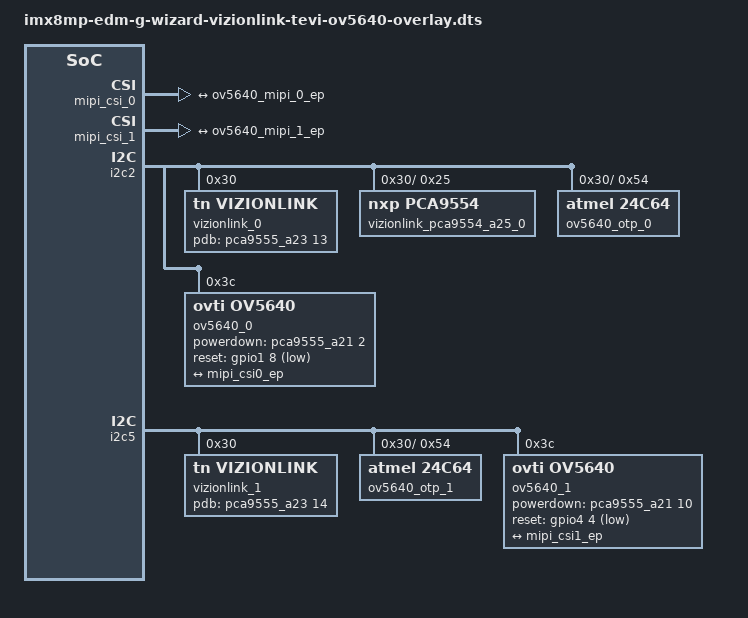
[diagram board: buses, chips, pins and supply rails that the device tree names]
// SPDX-License-Identifier: (GPL-2.0+ OR MIT)
/*
 * Copyright 2021 TechNexion Ltd.
 *
 */

/dts-v1/;
/plugin/;

#include <dt-bindings/interrupt-controller/irq.h>
#include <dt-bindings/clock/imx8mp-clock.h>
#include <dt-bindings/gpio/gpio.h>

/ {
	fragment@0 {
		target = <&mipi_csi_0>;
		__overlay__ {
			#address-cells = <1>;
			#size-cells = <0>;
			clock-frequency = <400000000>;
			status = "okay";

			port@0 {
				reg = <0>;
				mipi_csi0_ep: endpoint {
					remote-endpoint = <&ov5640_mipi_0_ep>;
					data-lanes = <4>;
					csis-hs-settle = <19>;
					csis-clk-settle = <2>;
					csis-wclk;
				};
			};
		};
	};

	fragment@1 {
		target = <&mipi_csi_1>;
		__overlay__ {
			#address-cells = <1>;
			#size-cells = <0>;
			clock-frequency = <400000000>;
			status = "okay";

			port@1 {
				reg = <1>;
				mipi_csi1_ep: endpoint {
					remote-endpoint = <&ov5640_mipi_1_ep>;
					data-lanes = <4>;
					csis-hs-settle = <19>;
					csis-clk-settle = <2>;
					csis-wclk;
				};
			};
		};
	};

	fragment@2 {
		target = <&i2c2>;
		__overlay__ {
			#address-cells = <1>;
			#size-cells = <0>;

			vizionlink_0: vizionlink@30 {
				compatible = "tn,vizionlink";
				reg = <0x30>;
				pdb-gpios = <&pca9555_a23 13 GPIO_ACTIVE_HIGH>;
				ser_alias_id = <0x1b>;

				//i2c addr alias map "gpio extender, eeprom , sensor"
				i2c_addr_alias_map_local = <0x25 0x54 0x3c>;
				i2c_addr_alias_map_remote = <0x25 0x54 0x3c>;

				//deserializer output csi lanes 1~4. default 4
				des_csi_lanes = <4>;

				//1: Enable 0: Disable continuous clock. default 0
				des_csi_continuous_clock = <0>;

				//serializer input csi lanes 1~4. default 4
				ser_csi_lanes = <2>;

				//1: Enable 0: Disable continuous clock. default 0
				ser_csi_continuous_clock = <0>;

				status = "okay";

				i2c_dev_list {
					#address-cells = <1>;
					#size-cells = <0>;

					vizionlink_pca9554_a25_0: vizionlink_pca9554@25 {
						compatible = "nxp,pca9554";
						reg = <0x25>;
						gpio-controller;
						#gpio-cells = <2>;
						status = "okay";
					};

					ov5640_otp_0: eeprom@54 {
						compatible = "atmel,24c64";
						pagesize = <128>;
						reg = <0x54>;
					};
				};
			};

			ov5640_0: ov5640_mipi@3c {
				compatible = "ovti,ov5640";
				reg = <0x3c>;
				pinctrl-names = "default";
				pinctrl-0 = <&pinctrl_csi0_pwn>, <&pinctrl_csi0_rst>;
				clocks = <&clk IMX8MP_CLK_IPP_DO_CLKO1>;
				clock-names = "xclk";
				assigned-clocks = <&clk IMX8MP_CLK_IPP_DO_CLKO1>;
				assigned-clock-parents = <&clk IMX8MP_CLK_24M>;
				assigned-clock-rates = <24000000>;
				csi_id = <0>;
				powerdown-gpios = <&pca9555_a21 2 GPIO_ACTIVE_HIGH>;
				reset-gpios = <&gpio1 8 GPIO_ACTIVE_LOW>;
				mclk = <24000000>;
				mclk_source = <0>;
				mipi_csi;
				nvmem = <&ov5640_otp_0>;
				nvmem-names = "calib-data";
				status = "okay";

				port {
					ov5640_mipi_0_ep: endpoint {
						remote-endpoint = <&mipi_csi0_ep>;
						data-lanes = <1 2>;
						clock-lanes = <0>;
					};
				};
			};
		};
	};

	fragment@3 {
		target = <&i2c5>;
		__overlay__ {
			#address-cells = <1>;
			#size-cells = <0>;

			vizionlink_1: vizionlink@30 {
				compatible = "tn,vizionlink";
				reg = <0x30>;
				pdb-gpios = <&pca9555_a23 14 GPIO_ACTIVE_HIGH>;
				ser_alias_id = <0x1b>;

				//i2c addr alias map "gpio extender, eeprom , sensor"
				i2c_addr_alias_map_local = <0x25 0x54 0x3c>;
				i2c_addr_alias_map_remote = <0x25 0x54 0x3c>;

				//deserializer output csi lanes 1~4. default 4
				des_csi_lanes = <4>;

				//1: Enable 0: Disable continuous clock. default 0
				des_csi_continuous_clock = <0>;

				//serializer input csi lanes 1~4. default 4
				ser_csi_lanes = <2>;

				//1: Enable 0: Disable continuous clock. default 0
				ser_csi_continuous_clock = <0>;

				status = "okay";

				i2c_dev_list {
					#address-cells = <1>;
					#size-cells = <0>;

					vizionlink_pca9554_a25_1: vizionlink_pca9554@25 {
						compatible = "nxp,pca9554";
						reg = <0x25>;
						gpio-controller;
						#gpio-cells = <2>;
						status = "disabled";
					};

					ov5640_otp_1: eeprom@54 {
						compatible = "atmel,24c64";
						pagesize = <128>;
						reg = <0x54>;
					};
				};
			};

			ov5640_1: ov5640_mipi@3c {
				compatible = "ovti,ov5640";
				reg = <0x3c>;
				pinctrl-names = "default";
				pinctrl-0 = <&pinctrl_csi1_pwn>, <&pinctrl_csi1_rst>;
				clocks = <&clk IMX8MP_CLK_IPP_DO_CLKO2>;
				clock-names = "xclk";
				assigned-clocks = <&clk IMX8MP_CLK_IPP_DO_CLKO2>;
				assigned-clock-parents = <&clk IMX8MP_CLK_24M>;
				assigned-clock-rates = <24000000>;
				csi_id = <0>;
				powerdown-gpios = <&pca9555_a21 10 GPIO_ACTIVE_HIGH>;
				reset-gpios = <&gpio4 4 GPIO_ACTIVE_LOW>;
				mclk = <24000000>;
				mclk_source = <0>;
				mipi_csi;
				nvmem = <&ov5640_otp_1>;
				nvmem-names = "calib-data";
				status = "okay";

				port {
					ov5640_mipi_1_ep: endpoint {
						remote-endpoint = <&mipi_csi1_ep>;
						data-lanes = <1 2>;
						clock-lanes = <0>;
					};
				};
			};
		};
	};
};
